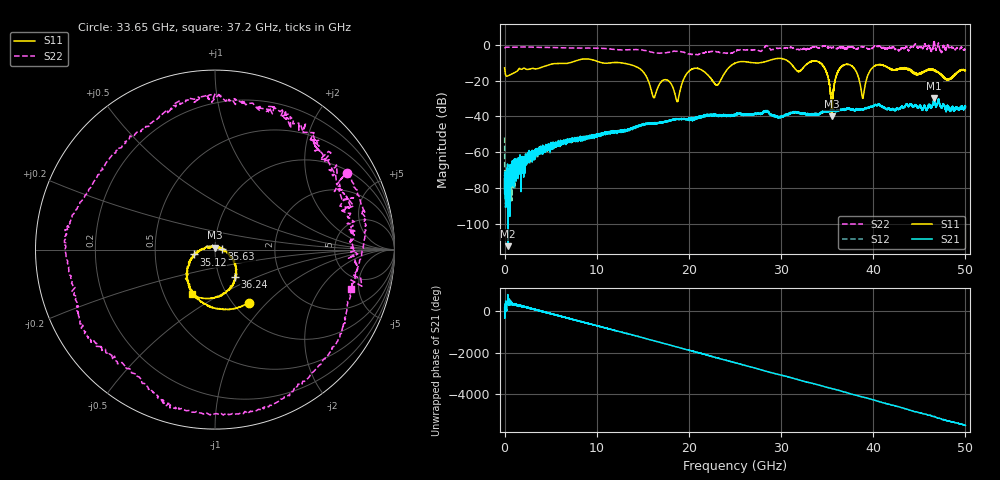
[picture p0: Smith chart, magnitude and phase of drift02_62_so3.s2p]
!Created with skrf (http://scikit-rf.org).
# Hz S RI R 50.0
!freq ReS11 ImS11 ReS21 ImS21 ReS12 ImS12 ReS22 ImS22
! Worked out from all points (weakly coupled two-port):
!   10001 points, 300 kHz to 50 GHz, reference 50 ohm
!   highest |S21| = -29.99 dB at 46.62 GHz (marker M1); lowest = -112.3 dB at 390.3 MHz (marker M2)
!   lowest |S11| = -40.0 dB at 35.5 GHz (marker M3), VSWR 1.02, Z = 49.9 + j0.992 ohm
!   |S11| at or under -10 dB: start of sweep to 7.179 GHz; 12.35 GHz to 25.16 GHz (12.82 GHz wide, 68.3 % of centre); 34.22 GHz to end of sweep (the widest 3 of 13)
!   |S22| runs from -5.7 to 2.3 dB; largest |S21 - S12| = 0.0038
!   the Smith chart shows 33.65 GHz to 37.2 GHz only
!   S11 on the Smith chart (normalised r, x): 33.65 GHz: 1.18, -0.80; 35.12 GHz: 0.79, -0.04; 35.63 GHz: 1.08, +0.01; 36.24 GHz: 1.19, -0.38; 37.2 GHz: 0.69, -0.37
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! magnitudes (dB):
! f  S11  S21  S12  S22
! 300 kHz  -13.0  -73.1  -51.7  -2.1
! 390.3 MHz  -17.3  -112.3  -80.7  -1.4
! 8.335 GHz  -8.2  -52.5  -52.3  -1.9
! 14.03 GHz  -11.8  -46.4  -46.3  -2.8
! 16.15 GHz  -29.3  -44.1  -43.8  -4.5
! 16.67 GHz  -23.4  -43.6  -43.7  -4.7
! 18.74 GHz  -31.8  -41.4  -41.4  -3.7
! 20.24 GHz  -13.9  -41.7  -41.8  -5.4
! 23.04 GHz  -22.6  -39.3  -39.4  -4.1
! 25 GHz  -10.4  -39.1  -38.9  -3.9
! 33.34 GHz  -9.3  -38.7  -38.6  -1.6
! 33.65 GHz  -9.1  -38.6  -38.4  -1.4
! 35.12 GHz  -18.3  -37.0  -37.2  -1.7
! 35.5 GHz  -40.0  -37.0  -36.7  -1.8
! 35.63 GHz  -28.0  -36.9  -36.8  -1.5
! 36.24 GHz  -14.4  -36.8  -36.7  -1.7
! 37.2 GHz  -11.0  -35.9  -35.7  -2.0
! 38.86 GHz  -29.9  -36.6  -36.0  -1.3
! 39.96 GHz  -12.7  -34.4  -34.5  -1.9
! 41.67 GHz  -13.0  -35.4  -35.7  -1.9
! 46.62 GHz  -14.5  -30.0  -30.3  2.1
! 50 GHz  -14.4  -34.3  -34.7  -2.7
